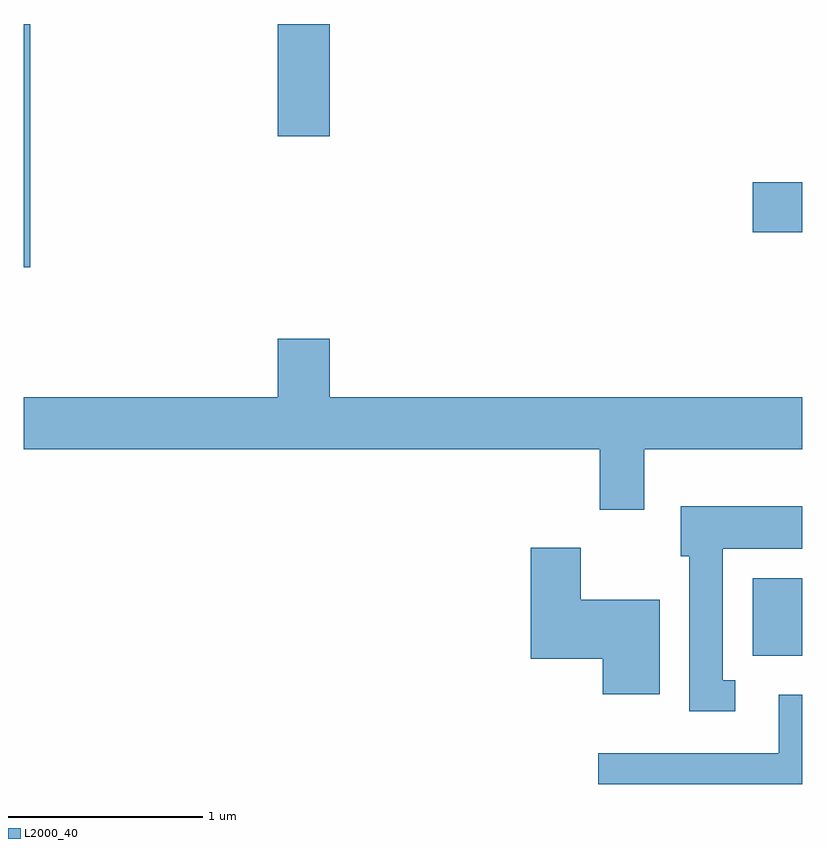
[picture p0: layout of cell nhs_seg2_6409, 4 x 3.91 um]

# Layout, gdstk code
import gdstk
lib = gdstk.Library(unit=1e-6, precision=1e-09)
def R(c, l, rs):  # rectangles x0, y0, x1, y1
    for r in rs: c.add(gdstk.rectangle(r[:2], r[2:], *l))
def P(c, l, *ps):  # polygons
    for p in ps: c.add(gdstk.Polygon(p, *l))
L2000_40 = (2000, 40)

nhs_seg2_6409 = lib.new_cell('nhs_seg2_6409')
R(nhs_seg2_6409, L2000_40, [(377.356,1080.556,377.611,1080.954), (373.611,1082.551,373.644,1083.802), (377.356,1082.731,377.611,1082.989), (374.916,1083.226,375.184,1083.802)])
P(nhs_seg2_6409, L2000_40, [(376.799,1081.616),(377.611,1081.616),(377.611,1081.884),(375.184,1081.884),(375.184,1082.184),(374.916,1082.184),(374.916,1081.884),(373.611,1081.884),(373.611,1081.616),(376.571,1081.616),(376.571,1081.306),(376.799,1081.306)],
  [(377.268,1080.429),(377.204,1080.429),(377.204,1081.106),(377.611,1081.106),(377.611,1081.324),(376.986,1081.324),(376.986,1081.066),(377.031,1081.066),(377.031,1080.271),(377.268,1080.271)],
  [(376.879,1080.844),(376.474,1080.844),(376.474,1081.109),(376.216,1081.109),(376.216,1080.541),(376.586,1080.541),(376.586,1080.356),(376.879,1080.356)],
  [(377.611,1080.354),(377.491,1080.354),(377.491,1080.054),(376.563,1080.054),(376.563,1079.896),(377.611,1079.896)])

lib.write_gds('nhs_seg2_6409.gds')
